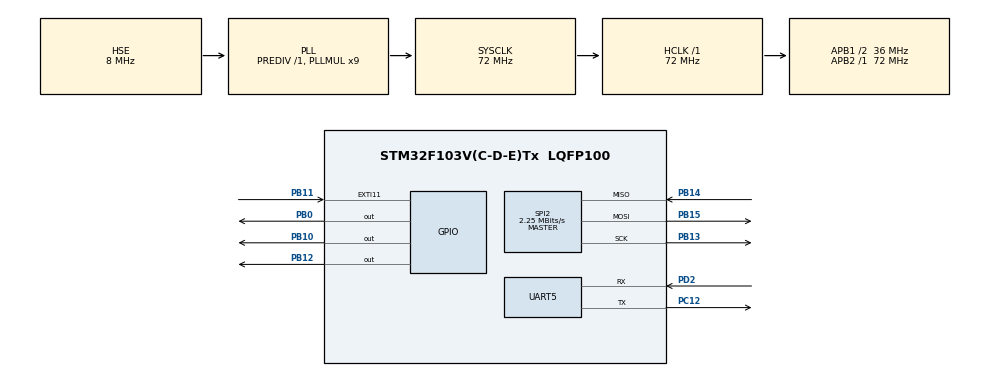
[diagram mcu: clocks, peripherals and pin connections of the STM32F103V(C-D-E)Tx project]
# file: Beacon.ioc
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Mcu.Family=STM32F1
Mcu.Name=STM32F103V(C-D-E)Tx
Mcu.Package=LQFP100
NVIC.PriorityGroup=NVIC_PRIORITYGROUP_4
NVIC.TIM2_IRQn=true\:0\:0\:false\:false\:true\:true\:true\:true
OSC_IN.Mode=HSE-External-Oscillator
OSC_IN.Signal=RCC_OSC_IN
OSC_OUT.Mode=HSE-External-Oscillator
OSC_OUT.Signal=RCC_OSC_OUT
PA13.Mode=Serial_Wire
PA13.Signal=SYS_JTMS-SWDIO
PA14.Mode=Serial_Wire
PA14.Signal=SYS_JTCK-SWCLK
PB0.GPIO_Speed=GPIO_SPEED_FREQ_HIGH
PB0.PinState=GPIO_PIN_SET
PB0.Signal=GPIO_Output
PB10.GPIO_ModeDefaultOutputPP=GPIO_MODE_OUTPUT_OD
PB10.GPIO_PuPd=GPIO_NOPULL
PB10.GPIO_Speed=GPIO_SPEED_FREQ_HIGH
PB10.Signal=GPIO_Output
PB11.GPIO_PuPd=GPIO_PULLDOWN
PB11.Signal=GPXTI11
PB12.GPIO_Speed=GPIO_SPEED_FREQ_HIGH
PB12.PinState=GPIO_PIN_SET
PB12.Signal=GPIO_Output
PB13.Mode=Full_Duplex_Master
PB13.Signal=SPI2_SCK
PB14.Mode=Full_Duplex_Master
PB14.Signal=SPI2_MISO
PB15.Mode=Full_Duplex_Master
PB15.Signal=SPI2_MOSI
PC12.Mode=Asynchronous
PC12.Signal=UART5_TX
PC14-OSC32_IN.Mode=LSE-External-Oscillator
PC14-OSC32_IN.Signal=RCC_OSC32_IN
PC15-OSC32_OUT.Mode=LSE-External-Oscillator
PC15-OSC32_OUT.Signal=RCC_OSC32_OUT
PD2.Mode=Asynchronous
PD2.Signal=UART5_RX
ProjectManager.HeapSize=0x200
ProjectManager.StackSize=0x400
ProjectManager.TargetToolchain=CMake
RCC.AHBFreq_Value=72000000
RCC.APB1CLKDivider=RCC_HCLK_DIV2
RCC.APB1Freq_Value=36000000
RCC.APB1TimFreq_Value=72000000
RCC.APB2Freq_Value=72000000
RCC.APB2TimFreq_Value=72000000
RCC.HCLKFreq_Value=72000000
RCC.PLLMUL=RCC_PLL_MUL9
RCC.PLLSourceVirtual=RCC_PLLSOURCE_HSE
RCC.SYSCLKFreq_VALUE=72000000
RCC.SYSCLKSource=RCC_SYSCLKSOURCE_PLLCLK
RCC.USBFreq_Value=72000000
SPI2.BaudRatePrescaler=SPI_BAUDRATEPRESCALER_16
SPI2.CalculateBaudRate=2.25 MBits/s
SPI2.Direction=SPI_DIRECTION_2LINES
SPI2.Mode=SPI_MODE_MASTER
SPI2.VirtualType=VM_MASTER
TIM2.Period=999
TIM2.Prescaler=7199
UART5.VirtualMode=Asynchronous
VP_TIM2_VS_ClockSourceINT.Mode=Internal
board=custom

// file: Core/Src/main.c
/* USER CODE BEGIN Header */
/**
  ******************************************************************************
  * @file           : main.c
  * @brief          : Main program body
  ******************************************************************************
  * @attention
  *
  * Copyright (c) 2026 STMicroelectronics.
  * All rights reserved.
  *
  * This software is licensed under terms that can be found in the LICENSE file
  * in the root directory of this software component.
  * If no LICENSE file comes with this software, it is provided AS-IS.
  *
  ******************************************************************************
  */
/* USER CODE END Header */
#include "main.h"

/* USER CODE BEGIN Includes */
#include "beacon_twr.h"
#include <stdio.h>
/* USER CODE END Includes */

SPI_HandleTypeDef hspi2;

TIM_HandleTypeDef htim2;

UART_HandleTypeDef huart5;

void SystemClock_Config(void);
static void MX_GPIO_Init(void);
static void MX_SPI2_Init(void);
static void MX_TIM2_Init(void);
static void MX_UART5_Init(void);

/* USER CODE BEGIN 0 */
int _write(int fd, char *ptr, int len)
{
    HAL_UART_Transmit(&huart5, (uint8_t *)ptr, len, HAL_MAX_DELAY);
    return len;
}
/* USER CODE END 0 */

int main(void)
{

  /* MCU Configuration--------------------------------------------------------*/

  /* Reset of all peripherals, Initializes the Flash interface and the Systick. */
  HAL_Init();

  /* Configure the system clock */
  SystemClock_Config();

  /* Initialize all configured peripherals */
  MX_GPIO_Init();
  MX_SPI2_Init();
  MX_TIM2_Init();
  MX_UART5_Init();
  /* USER CODE BEGIN 2 */
  setvbuf(stdout, NULL, _IONBF, 0);
  printf("\r\nUWB beacon start\r\n");
  int rc = beacon_twr_init();
  printf("beacon_twr_init = %d (0 is OK)\r\n", rc);
  uint32_t last = HAL_GetTick();
  /* USER CODE END 2 */

  /* Infinite loop */
  while (1)
  {

    /* USER CODE BEGIN 3 */
	    if (rc == 0) {
	        beacon_twr_step();
	    }
	    if (HAL_GetTick() - last >= 1000) {
	        last = HAL_GetTick();
	        const beacon_stats_t *s = beacon_twr_stats();
	        /*printf("polls=%lu replies=%lu rx_err=%lu tx_err=%lu seq=%u\r\n",
	               (unsigned long)s->polls, (unsigned long)s->replies,
	               (unsigned long)s->rx_err, (unsigned long)s->tx_err, s->last_seq);*/
	        printf("polls=%lu replies=%lu rx_err=%lu tx_err=%lu rssi=%d dBm\r\n",
	               (unsigned long)s->polls, (unsigned long)s->replies,
	               (unsigned long)s->rx_err, (unsigned long)s->tx_err,
	               s->rssi_valid ? (int)(s->rssi_q8 / 256) : 0);
	    }
  }
  /* USER CODE END 3 */
}

void SystemClock_Config(void)
{
  RCC_OscInitTypeDef RCC_OscInitStruct = {0};
  RCC_ClkInitTypeDef RCC_ClkInitStruct = {0};

  /** Initializes the RCC Oscillators according to the specified parameters
  * in the RCC_OscInitTypeDef structure.
  */
  RCC_OscInitStruct.OscillatorType = RCC_OSCILLATORTYPE_HSE;
  RCC_OscInitStruct.HSEState = RCC_HSE_ON;
  RCC_OscInitStruct.HSEPredivValue = RCC_HSE_PREDIV_DIV1;
  RCC_OscInitStruct.HSIState = RCC_HSI_ON;
  RCC_OscInitStruct.PLL.PLLState = RCC_PLL_ON;
  RCC_OscInitStruct.PLL.PLLSource = RCC_PLLSOURCE_HSE;
  RCC_OscInitStruct.PLL.PLLMUL = RCC_PLL_MUL9;
  if (HAL_RCC_OscConfig(&RCC_OscInitStruct) != HAL_OK)
  {
    Error_Handler();
  }

  /** Initializes the CPU, AHB and APB buses clocks
  */
  RCC_ClkInitStruct.ClockType = RCC_CLOCKTYPE_HCLK|RCC_CLOCKTYPE_SYSCLK
                              |RCC_CLOCKTYPE_PCLK1|RCC_CLOCKTYPE_PCLK2;
  RCC_ClkInitStruct.SYSCLKSource = RCC_SYSCLKSOURCE_PLLCLK;
  RCC_ClkInitStruct.AHBCLKDivider = RCC_SYSCLK_DIV1;
  RCC_ClkInitStruct.APB1CLKDivider = RCC_HCLK_DIV2;
  RCC_ClkInitStruct.APB2CLKDivider = RCC_HCLK_DIV1;

  if (HAL_RCC_ClockConfig(&RCC_ClkInitStruct, FLASH_LATENCY_2) != HAL_OK)
  {
    Error_Handler();
  }
}

static void MX_SPI2_Init(void)
{

  /* SPI2 parameter configuration*/
  hspi2.Instance = SPI2;
  hspi2.Init.Mode = SPI_MODE_MASTER;
  hspi2.Init.Direction = SPI_DIRECTION_2LINES;
  hspi2.Init.DataSize = SPI_DATASIZE_8BIT;
  hspi2.Init.CLKPolarity = SPI_POLARITY_LOW;
  hspi2.Init.CLKPhase = SPI_PHASE_1EDGE;
  hspi2.Init.NSS = SPI_NSS_SOFT;
  hspi2.Init.BaudRatePrescaler = SPI_BAUDRATEPRESCALER_16;
  hspi2.Init.FirstBit = SPI_FIRSTBIT_MSB;
  hspi2.Init.TIMode = SPI_TIMODE_DISABLE;
  hspi2.Init.CRCCalculation = SPI_CRCCALCULATION_DISABLE;
  hspi2.Init.CRCPolynomial = 10;
  if (HAL_SPI_Init(&hspi2) != HAL_OK)
  {
    Error_Handler();
  }

}

static void MX_TIM2_Init(void)
{

  TIM_ClockConfigTypeDef sClockSourceConfig = {0};
  TIM_MasterConfigTypeDef sMasterConfig = {0};

  htim2.Instance = TIM2;
  htim2.Init.Prescaler = 7199;
  htim2.Init.CounterMode = TIM_COUNTERMODE_UP;
  htim2.Init.Period = 999;
  htim2.Init.ClockDivision = TIM_CLOCKDIVISION_DIV1;
  htim2.Init.AutoReloadPreload = TIM_AUTORELOAD_PRELOAD_DISABLE;
  if (HAL_TIM_Base_Init(&htim2) != HAL_OK)
  {
    Error_Handler();
  }
  sClockSourceConfig.ClockSource = TIM_CLOCKSOURCE_INTERNAL;
  if (HAL_TIM_ConfigClockSource(&htim2, &sClockSourceConfig) != HAL_OK)
  {
    Error_Handler();
  }
  sMasterConfig.MasterOutputTrigger = TIM_TRGO_RESET;
  sMasterConfig.MasterSlaveMode = TIM_MASTERSLAVEMODE_DISABLE;
  if (HAL_TIMEx_MasterConfigSynchronization(&htim2, &sMasterConfig) != HAL_OK)
  {
    Error_Handler();
  }

}

static void MX_UART5_Init(void)
{

  huart5.Instance = UART5;
  huart5.Init.BaudRate = 115200;
  huart5.Init.WordLength = UART_WORDLENGTH_8B;
  huart5.Init.StopBits = UART_STOPBITS_1;
  huart5.Init.Parity = UART_PARITY_NONE;
  huart5.Init.Mode = UART_MODE_TX_RX;
  huart5.Init.HwFlowCtl = UART_HWCONTROL_NONE;
  huart5.Init.OverSampling = UART_OVERSAMPLING_16;
  if (HAL_UART_Init(&huart5) != HAL_OK)
  {
    Error_Handler();
  }

}

static void MX_GPIO_Init(void)
{
  GPIO_InitTypeDef GPIO_InitStruct = {0};

  /* GPIO Ports Clock Enable */
  __HAL_RCC_GPIOC_CLK_ENABLE();
  __HAL_RCC_GPIOB_CLK_ENABLE();
  __HAL_RCC_GPIOA_CLK_ENABLE();
  __HAL_RCC_GPIOD_CLK_ENABLE();

  /*Configure GPIO pin Output Level */
  HAL_GPIO_WritePin(GPIOB, GPIO_PIN_0|GPIO_PIN_12, GPIO_PIN_SET);

  /*Configure GPIO pin Output Level */
  HAL_GPIO_WritePin(GPIOB, GPIO_PIN_10, GPIO_PIN_RESET);

  /*Configure GPIO pins : PB0 PB12 */
  GPIO_InitStruct.Pin = GPIO_PIN_0|GPIO_PIN_12;
  GPIO_InitStruct.Mode = GPIO_MODE_OUTPUT_PP;
  GPIO_InitStruct.Pull = GPIO_NOPULL;
  GPIO_InitStruct.Speed = GPIO_SPEED_FREQ_HIGH;
  HAL_GPIO_Init(GPIOB, &GPIO_InitStruct);

  /*Configure GPIO pin : PB10 */
  GPIO_InitStruct.Pin = GPIO_PIN_10;
  GPIO_InitStruct.Mode = GPIO_MODE_OUTPUT_OD;
  GPIO_InitStruct.Pull = GPIO_NOPULL;
  GPIO_InitStruct.Speed = GPIO_SPEED_FREQ_HIGH;
  HAL_GPIO_Init(GPIOB, &GPIO_InitStruct);

  /*Configure GPIO pin : PB11 */
  GPIO_InitStruct.Pin = GPIO_PIN_11;
  GPIO_InitStruct.Mode = GPIO_MODE_IT_RISING;
  GPIO_InitStruct.Pull = GPIO_PULLDOWN;
  HAL_GPIO_Init(GPIOB, &GPIO_InitStruct);

}

void Error_Handler(void)
{
  __disable_irq();
  while (1)
  {
  }
}
